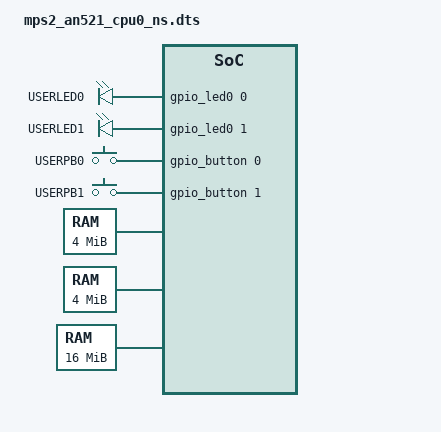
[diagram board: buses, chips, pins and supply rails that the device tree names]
/*
 * Copyright (c) 2018-2019 Linaro Limited
 * Copyright 2025 Arm Limited and/or its affiliates <open-source-office@arm.com>
 *
 * SPDX-License-Identifier: Apache-2.0
 */

/dts-v1/;

#include <mem.h>
#include <arm/armv8-m.dtsi>
#include <zephyr/dt-bindings/i2c/i2c.h>
#include <zephyr/dt-bindings/input/input-event-codes.h>

/ {
	compatible = "arm,mps2";
	#address-cells = <1>;
	#size-cells = <1>;

	aliases {
		led0 = &led_0;
		led1 = &led_1;
		sw0 = &user_button_0;
		sw1 = &user_button_1;
		watchdog0 = &wdog0;
	};

	chosen {
		zephyr,console = &uart0;
		zephyr,shell-uart = &uart0;
		zephyr,sram = &ram;
		zephyr,flash = &code;
	};

	leds {
		compatible = "gpio-leds";
		led_0: led_0 {
			gpios = <&gpio_led0 0>;
			label = "USERLED0";
		};
		led_1: led_1 {
			gpios = <&gpio_led0 1>;
			label = "USERLED1";
		};
	};

	gpio_keys {
		compatible = "gpio-keys";
		user_button_0: button_0 {
			label = "USERPB0";
			gpios = <&gpio_button 0>;
			zephyr,code = <INPUT_KEY_0>;
		};
		user_button_1: button_1 {
			label = "USERPB1";
			gpios = <&gpio_button 1>;
			zephyr,code = <INPUT_KEY_1>;
		};
	};

	cpus {
		#address-cells = <1>;
		#size-cells = <0>;

		cpu@0 {
			device_type = "cpu";
			compatible = "arm,cortex-m33";
			reg = <0>;
			#address-cells = <1>;
			#size-cells = <1>;

			mpu: mpu@e000ed90 {
				compatible = "arm,armv8m-mpu";
				reg = <0xe000ed90 0x40>;
			};
		};
	};

	/*
	 * The memory regions defined below are according to AN521:
	 * https://documentation-service.arm.com/static/5fa12fe9b1a7c5445f29017f
	 *
	 * Please see tables mentioned in individual comments below for details.
	 */

	ssram1: memory@0 {
		/* Table 3-2, row 1. */
		compatible = "zephyr,memory-region", "mmio-sram";
		reg = <0x0 DT_SIZE_M(4)>;
		zephyr,memory-region = "SSRAM1";
	};

	ssram2_3: memory@28000000 {
		/* Table 3-4, rows 8 and 9. */
		compatible = "zephyr,memory-region", "mmio-sram";
		reg = <0x28000000 DT_SIZE_M(4)>;
		zephyr,memory-region = "SSRAM2_3";
	};

	psram: memory@80000000 {
		/* Table 3-6, row 1. */
		device_type = "memory";
		reg = <0x80000000 DT_SIZE_M(16)>;
	};

	reserved-memory {
		#address-cells = <1>;
		#size-cells = <1>;
		ranges;

		/* This code memory region must match what the TF-M
		 * project has defined for that board - a single image boot is
		 * assumed. Please see the memory layout in:
		 *
		 * https://github.com/zephyrproject-rtos/trusted-firmware-m/blob/master/platform/ext/target/arm/mps2/an521/partition/flash_layout.h
		 */
		code: memory@100000 {
			reg = <0x00100000 DT_SIZE_K(512)>;
		};

		/* This ram memory region's size is chosen to avoid conflict
		 * with the mps2_an521_remote board's RAM region.
		 *
		 * Its available address space must be compatible with what
		 * TF-M assigns to NS firmware.
		 */
		ram: memory@28100000 {
			reg = <0x28100000 DT_SIZE_K(512)>;
		};
	};

	soc {
		peripheral@40000000 {
			#address-cells = <1>;
			#size-cells = <1>;
			ranges = <0x0 0x40000000 0x10000000>;

			#include "mps2_an521-common.dtsi"
		};
	};
};

&nvic {
	arm,num-irq-priority-bits = <3>;
};
#include "mps2-pinctrl.dtsi"
